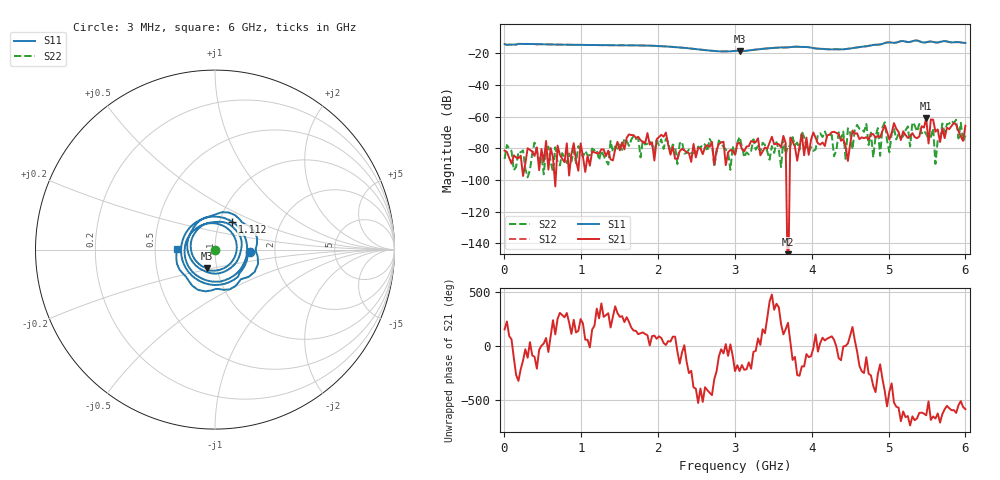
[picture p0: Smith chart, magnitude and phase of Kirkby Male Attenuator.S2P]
! C:\data\cal kit\Siglent Cal Kit\Kirkby Male Attenuator.S2P
! Touchstone 1.1 file saved by VNA.EXE V1.60 (www.ke5fx.com/gpib/readme.htm)
! 26/07/2019 10:55:21 a.m.
!  Source: HEWLETT PACKARD,8753C,0,4.12
!  Min freq: 3.000000E+006 Hz
!  Max freq: 6.000000E+009 Hz
!  Points: 201
!  Params: S11 S21 S12 S22
# GHZ S DB R 50
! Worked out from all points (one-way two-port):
!   201 points, 3 MHz to 6 GHz, reference 50 ohm
!   highest |S21| = -61.02 dB at 5.49 GHz (marker M1); lowest = -174.3 dB at 3.691 GHz (marker M2)
!   lowest |S11| = -18.8 dB at 3.061 GHz (marker M3), VSWR 1.26, Z = 44.6 - j9.4 ohm
!   |S11| at or under -10 dB: start of sweep to end of sweep
!   |S22| runs from -98.4 to -62.0 dB; largest |S21 - S12| = 0.25
!   S11 on the Smith chart (normalised r, x): 3 MHz: 1.48, -0.04; 1.112 GHz: 1.15, +0.37; 6 GHz: 0.65, +0.01
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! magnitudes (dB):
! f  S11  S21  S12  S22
! 3 MHz  -14.2  -81.5  -14.2  -86.8
! 1.022 GHz  -14.7  -85.4  -14.7  -85.3
! 1.112 GHz  -14.8  -91.0  -14.8  -84.5
! 2.012 GHz  -15.4  -72.9  -15.4  -78.1
! 3.002 GHz  -18.5  -84.1  -18.5  -84.6
! 3.061 GHz  -18.8  -76.4  -18.9  -72.8
! 3.691 GHz  -16.2  -174.3  -16.3  -78.2
! 4.021 GHz  -16.7  -70.0  -16.7  -81.6
! 4.441 GHz  -17.3  -78.8  -17.3  -86.7
! 4.471 GHz  -17.1  -88.0  -17.1  -67.4
! 4.531 GHz  -16.7  -68.9  -16.7  -80.7
! 4.711 GHz  -15.5  -73.0  -15.6  -64.6
! 4.891 GHz  -14.4  -73.1  -14.4  -84.8
! 4.951 GHz  -13.5  -65.6  -13.5  -63.5
! 5.01 GHz  -13.1  -74.5  -13.1  -82.5
! 5.07 GHz  -13.4  -64.1  -13.4  -67.3
! 5.37 GHz  -11.9  -73.7  -11.9  -69.5
! 5.49 GHz  -13.0  -61.0  -13.0  -71.1
! 5.52 GHz  -12.7  -77.0  -12.7  -73.9
! 5.55 GHz  -12.5  -61.8  -12.6  -73.0
! 5.67 GHz  -12.8  -76.1  -12.8  -75.0
! 6 GHz  -13.4  -65.7  -13.4  -72.0
